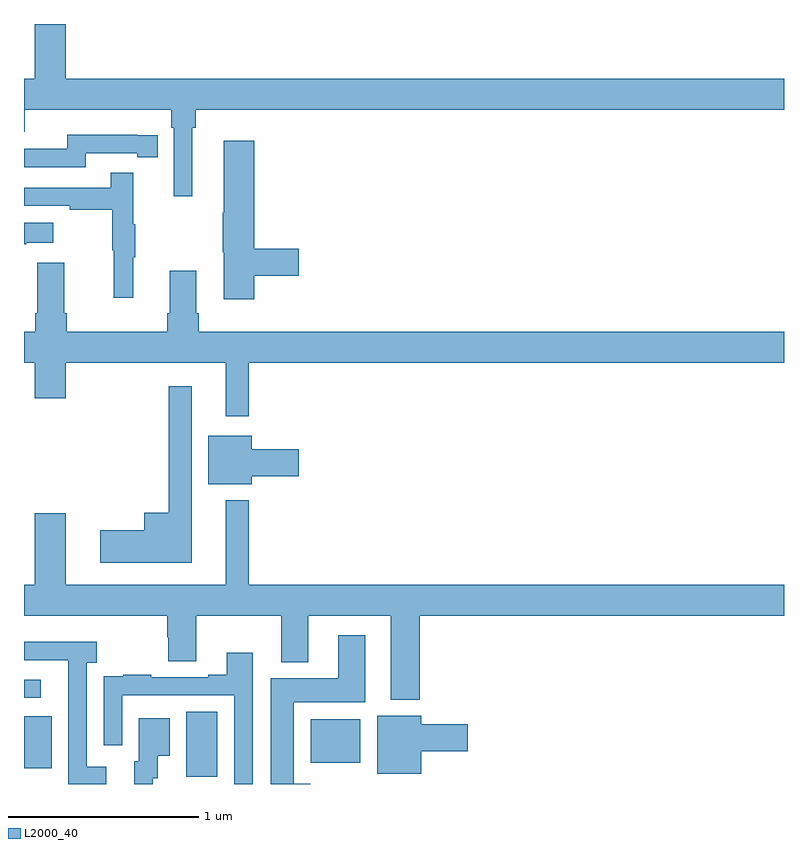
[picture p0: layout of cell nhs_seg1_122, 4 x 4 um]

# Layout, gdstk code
import gdstk
lib = gdstk.Library(unit=1e-6, precision=1e-09)
def R(c, l, rs):  # rectangles x0, y0, x1, y1
    for r in rs: c.add(gdstk.rectangle(r[:2], r[2:], *l))
def P(c, l, *ps):  # polygons
    for p in ps: c.add(gdstk.Polygon(p, *l))
L2000_40 = (2000, 40)

nhs_seg1_122 = lib.new_cell('nhs_seg1_122')
R(nhs_seg1_122, L2000_40, [(117.854,532.237,118.018,532.58), (117,532.281,117.145,532.555), (118.508,532.31,118.771,532.54), (117,532.653,117.088,532.749)])
P(nhs_seg1_122, L2000_40, [(117.886,535.652),(117.905,535.652),(117.905,535.748),(121,535.748),(121,535.912),(117.22,535.912),(117.22,536.199),(117.056,536.199),(117.056,535.912),(117,535.912),(117,535.631),(117.004,535.631),(117.004,535.748),(117.776,535.748),(117.776,535.652),(117.789,535.652),(117.789,535.293),(117.886,535.293)],
  [(117.324,535.518),(117.596,535.518),(117.596,535.498),(117.704,535.498),(117.704,535.614),(117.596,535.614),(117.596,535.615),(117.228,535.615),(117.228,535.542),(117,535.542),(117,535.446),(117.324,535.446)],
  [(118.211,534.874),(118.447,534.874),(118.447,535.016),(118.211,535.016),(118.211,535.585),(118.052,535.585),(118.052,535.205),(118.045,535.205),(118.045,534.999),(118.052,534.999),(118.052,534.75),(118.211,534.75)],
  [(117.575,534.971),(117.586,534.971),(117.586,535.145),(117.575,535.145),(117.575,535.417),(117.457,535.417),(117.457,535.338),(117,535.338),(117,535.242),(117.241,535.242),(117.241,535.222),(117.465,535.222),(117.465,535.008),(117.472,535.008),(117.472,534.759),(117.575,534.759)],
  [(117.011,535.049),(117.154,535.049),(117.154,535.153),(117,535.153),(117,535.039),(117.011,535.039)],
  [(118.183,534.416),(121,534.416),(121,534.58),(117.92,534.58),(117.92,534.676),(117.907,534.676),(117.907,534.901),(117.767,534.901),(117.767,534.676),(117.755,534.676),(117.755,534.58),(117.224,534.58),(117.224,534.676),(117.211,534.676),(117.211,534.943),(117.071,534.943),(117.071,534.676),(117.059,534.676),(117.059,534.58),(117,534.58),(117,534.416),(117.056,534.416),(117.056,534.228),(117.22,534.228),(117.22,534.416),(118.061,534.416),(118.061,534.135),(118.183,534.135)],
  [(117.883,534.292),(117.762,534.292),(117.762,533.626),(117.632,533.626),(117.632,533.534),(117.402,533.534),(117.402,533.363),(117.883,533.363)],
  [(118.198,533.819),(118.447,533.819),(118.447,533.961),(118.198,533.961),(118.198,534.031),(117.971,534.031),(117.971,533.777),(118.198,533.777)],
  [(119.084,533.084),(121,533.084),(121,533.248),(118.183,533.248),(118.183,533.692),(118.061,533.692),(118.061,533.248),(117.22,533.248),(117.22,533.623),(117.056,533.623),(117.056,533.248),(117,533.248),(117,533.084),(117.755,533.084),(117.755,532.971),(117.76,532.971),(117.76,532.846),(117.907,532.846),(117.907,533.084),(118.355,533.084),(118.355,532.841),(118.495,532.841),(118.495,533.084),(118.931,533.084),(118.931,532.643),(119.084,532.643)],
  [(118.507,532.201),(118.42,532.201),(118.42,532.628),(118.795,532.628),(118.795,532.981),(118.655,532.981),(118.655,532.756),(118.298,532.756),(118.298,532.199),(118.507,532.199)],
  [(117.433,532.29),(117.33,532.29),(117.33,532.838),(117.382,532.838),(117.382,532.948),(117,532.948),(117,532.851),(117.233,532.851),(117.233,532.651),(117.234,532.651),(117.234,532.199),(117.433,532.199)],
  [(118.203,532.891),(118.067,532.891),(118.067,532.774),(117.971,532.774),(117.971,532.761),(117.671,532.761),(117.671,532.774),(117.523,532.774),(117.523,532.767),(117.421,532.767),(117.421,532.658),(117.42,532.658),(117.42,532.404),(117.516,532.404),(117.516,532.665),(118.107,532.665),(118.107,532.199),(118.203,532.199)],
  [(119.092,532.372),(119.335,532.372),(119.335,532.514),(119.092,532.514),(119.092,532.558),(118.859,532.558),(118.859,532.253),(119.092,532.253)],
  [(117.678,532.23),(117.703,532.23),(117.703,532.349),(117.766,532.349),(117.766,532.546),(117.605,532.546),(117.605,532.32),(117.581,532.32),(117.581,532.199),(117.678,532.199)])

lib.write_gds('nhs_seg1_122.gds')
